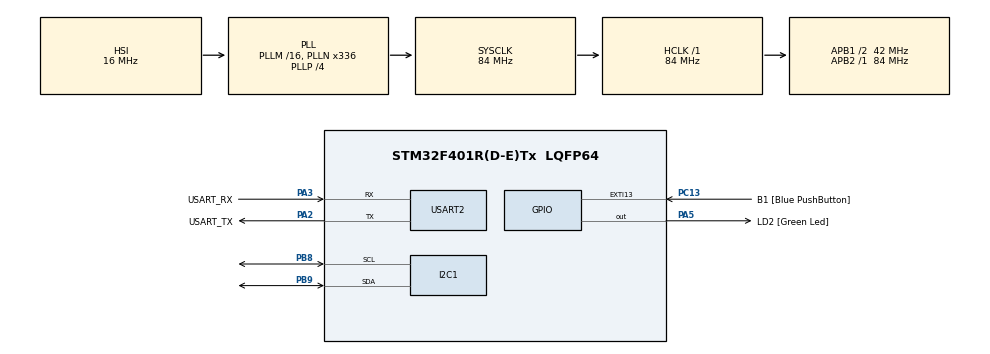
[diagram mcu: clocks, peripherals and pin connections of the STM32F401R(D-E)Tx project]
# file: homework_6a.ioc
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Mcu.Family=STM32F4
Mcu.Name=STM32F401R(D-E)Tx
Mcu.Package=LQFP64
NVIC.PriorityGroup=NVIC_PRIORITYGROUP_0
NVIC.TIM2_IRQn=true\:0\:0\:false\:false\:true\:true\:true\:true
PA13.GPIO_Label=TMS
PA13.Mode=Serial_Wire
PA13.Signal=SYS_JTMS-SWDIO
PA14.GPIO_Label=TCK
PA14.Mode=Serial_Wire
PA14.Signal=SYS_JTCK-SWCLK
PA2.GPIO_Label=USART_TX
PA2.GPIO_Mode=GPIO_MODE_AF_PP
PA2.GPIO_PuPd=GPIO_NOPULL
PA2.GPIO_Speed=GPIO_SPEED_FREQ_LOW
PA2.Mode=Asynchronous
PA2.Signal=USART2_TX
PA3.GPIO_Label=USART_RX
PA3.GPIO_Mode=GPIO_MODE_AF_PP
PA3.GPIO_PuPd=GPIO_NOPULL
PA3.GPIO_Speed=GPIO_SPEED_FREQ_LOW
PA3.Mode=Asynchronous
PA3.Signal=USART2_RX
PA5.GPIO_Label=LD2 [Green Led]
PA5.GPIO_Mode=GPIO_MODE_OUTPUT_PP
PA5.GPIO_PuPd=GPIO_NOPULL
PA5.GPIO_Speed=GPIO_SPEED_FREQ_LOW
PA5.Signal=GPIO_Output
PB3.GPIO_Label=SWO
PB3.Signal=SYS_JTDO-SWO
PB8.Mode=I2C
PB8.Signal=I2C1_SCL
PB9.Mode=I2C
PB9.Signal=I2C1_SDA
PC13-ANTI_TAMP.GPIO_Label=B1 [Blue PushButton]
PC13-ANTI_TAMP.GPIO_ModeDefaultEXTI=GPIO_MODE_IT_FALLING
PC13-ANTI_TAMP.GPIO_PuPd=GPIO_NOPULL
PC13-ANTI_TAMP.Signal=GPXTI13
PC14-OSC32_IN.Mode=LSE-External-Oscillator
PC14-OSC32_IN.Signal=RCC_OSC32_IN
PC15-OSC32_OUT.Mode=LSE-External-Oscillator
PC15-OSC32_OUT.Signal=RCC_OSC32_OUT
PH0\ -\ OSC_IN.Mode=HSE-External-Clock-Source
PH0\ -\ OSC_IN.Signal=RCC_OSC_IN
PH1\ -\ OSC_OUT.Mode=HSE-External-Clock-Source
PH1\ -\ OSC_OUT.Signal=RCC_OSC_OUT
ProjectManager.HeapSize=0x200
ProjectManager.StackSize=0x400
ProjectManager.TargetToolchain=STM32CubeIDE
RCC.48MHZClocksFreq_Value=48000000
RCC.AHBFreq_Value=84000000
RCC.APB1CLKDivider=RCC_HCLK_DIV2
RCC.APB1Freq_Value=42000000
RCC.APB1TimFreq_Value=84000000
RCC.APB2Freq_Value=84000000
RCC.APB2TimFreq_Value=84000000
RCC.CortexFreq_Value=84000000
RCC.HCLKFreq_Value=84000000
RCC.HSE_VALUE=8000000
RCC.HSI_VALUE=16000000
RCC.PLLN=336
RCC.PLLP=RCC_PLLP_DIV4
RCC.PLLQ=7
RCC.SYSCLKFreq_VALUE=84000000
RCC.SYSCLKSource=RCC_SYSCLKSOURCE_PLLCLK
RCC.VCOOutputFreq_Value=336000000
TIM2.Period=9999
TIM2.Prescaler=8399
USART2.VirtualMode=VM_ASYNC
VP_TIM2_VS_ClockSourceINT.Mode=Internal
board=NUCLEO-F401RE

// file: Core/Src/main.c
/* USER CODE BEGIN Header */
/**
  ******************************************************************************
  * @file           : main.c
  * @brief          : Main program body
  ******************************************************************************
  * @attention
  *
  * Copyright (c) 2023 STMicroelectronics.
  * All rights reserved.
  *
  * This software is licensed under terms that can be found in the LICENSE file
  * in the root directory of this software component.
  * If no LICENSE file comes with this software, it is provided AS-IS.
  *
  ******************************************************************************
  */
/* USER CODE END Header */
#include "main.h"
#include <stdio.h>

/* USER CODE BEGIN PD */
#define THERM_I2C_ADDRESS 0b10010000 // 8th bit needed to avoid 7 bits problems -> this address becomes for transmitting
									// do +1 in order to receive. Needed only for old versions
#define THERM_I2C_TEMP_REG_ADDR 0x00
#define DIM_S 100
/* USER CODE END PD */

I2C_HandleTypeDef hi2c1;

TIM_HandleTypeDef htim2;

UART_HandleTypeDef huart2;

/* USER CODE BEGIN PV */
char temperature[2];
char outBuffer[DIM_S];
int outBufferSize;
uint8_t therm_temp_reg_addr = THERM_I2C_TEMP_REG_ADDR;
/* USER CODE END PV */

void SystemClock_Config(void);
static void MX_GPIO_Init(void);
static void MX_USART2_UART_Init(void);
static void MX_I2C1_Init(void);
static void MX_TIM2_Init(void);

/* USER CODE BEGIN 0 */
void HAL_TIM_PeriodElapsedCallback (TIM_HandleTypeDef * htim){
	if(htim==&htim2) {
		// Read 2 bytes and put it in 2 bytes array
		if(HAL_I2C_Master_Receive(&hi2c1, THERM_I2C_ADDRESS+1, (uint8_t*) temperature, 2, 20)==HAL_OK){
			// The integer part is in the first read byte, while in the second byte we have only 3 decimal bits
			// So we read as 8B integer the first byte, then we add the decimal value.
			// To get the decimal value (only the 3 byte most significant bits) we shift right 5 times so that the second byte
			// now is equal to the 3 most significant bits. Finally we divide it by 8 to convert it to its decimal value:
			// 000 = 0.0, 001 = 0.125, 010 = 0.25, 100 = 0.5, ...
			// We sum together the integer part and the decimal part in order to have the final value

			//float floatTemperature = (int8_t) temperature[0] + ((float)((uint8_t) temperature[1]>>5))/8;
			float floatTemperature = (int8_t) temperature[0] + ((float)((uint8_t) temperature[1]>>7))/2;
			outBufferSize=snprintf(outBuffer, DIM_S, "Temperature: %.3fC\r\n", floatTemperature);
		}
		else {
			outBufferSize=snprintf(outBuffer, DIM_S, "Error while reading the temperature\r\n");
		}
		HAL_UART_Transmit(&huart2,(uint8_t *) outBuffer, outBufferSize, 100);
	}
}
/* USER CODE END 0 */

int main(void)
{

  /* MCU Configuration--------------------------------------------------------*/

  /* Reset of all peripherals, Initializes the Flash interface and the Systick. */
  HAL_Init();

  /* Configure the system clock */
  SystemClock_Config();

  /* Initialize all configured peripherals */
  MX_GPIO_Init();
  MX_USART2_UART_Init();
  MX_I2C1_Init();
  MX_TIM2_Init();
  /* USER CODE BEGIN 2 */
  HAL_TIM_Base_Start_IT(&htim2);

  // Ask the temperature address value (will send it always this value every time we will use the receive method)
  HAL_I2C_Master_Transmit(&hi2c1, THERM_I2C_ADDRESS, &therm_temp_reg_addr, 1, 10);
  /* USER CODE END 2 */

  /* Infinite loop */
  while (1)
  {

  }
}

void SystemClock_Config(void)
{
  RCC_OscInitTypeDef RCC_OscInitStruct = {0};
  RCC_ClkInitTypeDef RCC_ClkInitStruct = {0};

  /** Configure the main internal regulator output voltage
  */
  __HAL_RCC_PWR_CLK_ENABLE();
  __HAL_PWR_VOLTAGESCALING_CONFIG(PWR_REGULATOR_VOLTAGE_SCALE2);

  /** Initializes the RCC Oscillators according to the specified parameters
  * in the RCC_OscInitTypeDef structure.
  */
  RCC_OscInitStruct.OscillatorType = RCC_OSCILLATORTYPE_HSI;
  RCC_OscInitStruct.HSIState = RCC_HSI_ON;
  RCC_OscInitStruct.HSICalibrationValue = RCC_HSICALIBRATION_DEFAULT;
  RCC_OscInitStruct.PLL.PLLState = RCC_PLL_ON;
  RCC_OscInitStruct.PLL.PLLSource = RCC_PLLSOURCE_HSI;
  RCC_OscInitStruct.PLL.PLLM = 16;
  RCC_OscInitStruct.PLL.PLLN = 336;
  RCC_OscInitStruct.PLL.PLLP = RCC_PLLP_DIV4;
  RCC_OscInitStruct.PLL.PLLQ = 7;
  if (HAL_RCC_OscConfig(&RCC_OscInitStruct) != HAL_OK)
  {
    Error_Handler();
  }

  /** Initializes the CPU, AHB and APB buses clocks
  */
  RCC_ClkInitStruct.ClockType = RCC_CLOCKTYPE_HCLK|RCC_CLOCKTYPE_SYSCLK
                              |RCC_CLOCKTYPE_PCLK1|RCC_CLOCKTYPE_PCLK2;
  RCC_ClkInitStruct.SYSCLKSource = RCC_SYSCLKSOURCE_PLLCLK;
  RCC_ClkInitStruct.AHBCLKDivider = RCC_SYSCLK_DIV1;
  RCC_ClkInitStruct.APB1CLKDivider = RCC_HCLK_DIV2;
  RCC_ClkInitStruct.APB2CLKDivider = RCC_HCLK_DIV1;

  if (HAL_RCC_ClockConfig(&RCC_ClkInitStruct, FLASH_LATENCY_2) != HAL_OK)
  {
    Error_Handler();
  }
}

static void MX_I2C1_Init(void)
{

  hi2c1.Instance = I2C1;
  hi2c1.Init.ClockSpeed = 100000;
  hi2c1.Init.DutyCycle = I2C_DUTYCYCLE_2;
  hi2c1.Init.OwnAddress1 = 0;
  hi2c1.Init.AddressingMode = I2C_ADDRESSINGMODE_7BIT;
  hi2c1.Init.DualAddressMode = I2C_DUALADDRESS_DISABLE;
  hi2c1.Init.OwnAddress2 = 0;
  hi2c1.Init.GeneralCallMode = I2C_GENERALCALL_DISABLE;
  hi2c1.Init.NoStretchMode = I2C_NOSTRETCH_DISABLE;
  if (HAL_I2C_Init(&hi2c1) != HAL_OK)
  {
    Error_Handler();
  }

}

static void MX_TIM2_Init(void)
{

  TIM_ClockConfigTypeDef sClockSourceConfig = {0};
  TIM_MasterConfigTypeDef sMasterConfig = {0};

  htim2.Instance = TIM2;
  htim2.Init.Prescaler = 8399;
  htim2.Init.CounterMode = TIM_COUNTERMODE_UP;
  htim2.Init.Period = 9999;
  htim2.Init.ClockDivision = TIM_CLOCKDIVISION_DIV1;
  htim2.Init.AutoReloadPreload = TIM_AUTORELOAD_PRELOAD_DISABLE;
  if (HAL_TIM_Base_Init(&htim2) != HAL_OK)
  {
    Error_Handler();
  }
  sClockSourceConfig.ClockSource = TIM_CLOCKSOURCE_INTERNAL;
  if (HAL_TIM_ConfigClockSource(&htim2, &sClockSourceConfig) != HAL_OK)
  {
    Error_Handler();
  }
  sMasterConfig.MasterOutputTrigger = TIM_TRGO_RESET;
  sMasterConfig.MasterSlaveMode = TIM_MASTERSLAVEMODE_DISABLE;
  if (HAL_TIMEx_MasterConfigSynchronization(&htim2, &sMasterConfig) != HAL_OK)
  {
    Error_Handler();
  }

}

static void MX_USART2_UART_Init(void)
{

  huart2.Instance = USART2;
  huart2.Init.BaudRate = 115200;
  huart2.Init.WordLength = UART_WORDLENGTH_8B;
  huart2.Init.StopBits = UART_STOPBITS_1;
  huart2.Init.Parity = UART_PARITY_NONE;
  huart2.Init.Mode = UART_MODE_TX_RX;
  huart2.Init.HwFlowCtl = UART_HWCONTROL_NONE;
  huart2.Init.OverSampling = UART_OVERSAMPLING_16;
  if (HAL_UART_Init(&huart2) != HAL_OK)
  {
    Error_Handler();
  }

}

static void MX_GPIO_Init(void)
{
  GPIO_InitTypeDef GPIO_InitStruct = {0};

  /* GPIO Ports Clock Enable */
  __HAL_RCC_GPIOC_CLK_ENABLE();
  __HAL_RCC_GPIOH_CLK_ENABLE();
  __HAL_RCC_GPIOA_CLK_ENABLE();
  __HAL_RCC_GPIOB_CLK_ENABLE();

  /*Configure GPIO pin Output Level */
  HAL_GPIO_WritePin(LD2_GPIO_Port, LD2_Pin, GPIO_PIN_RESET);

  /*Configure GPIO pin : B1_Pin */
  GPIO_InitStruct.Pin = B1_Pin;
  GPIO_InitStruct.Mode = GPIO_MODE_IT_FALLING;
  GPIO_InitStruct.Pull = GPIO_NOPULL;
  HAL_GPIO_Init(B1_GPIO_Port, &GPIO_InitStruct);

  /*Configure GPIO pin : LD2_Pin */
  GPIO_InitStruct.Pin = LD2_Pin;
  GPIO_InitStruct.Mode = GPIO_MODE_OUTPUT_PP;
  GPIO_InitStruct.Pull = GPIO_NOPULL;
  GPIO_InitStruct.Speed = GPIO_SPEED_FREQ_LOW;
  HAL_GPIO_Init(LD2_GPIO_Port, &GPIO_InitStruct);

}

void Error_Handler(void)
{
  __disable_irq();
  while (1)
  {
  }
}
